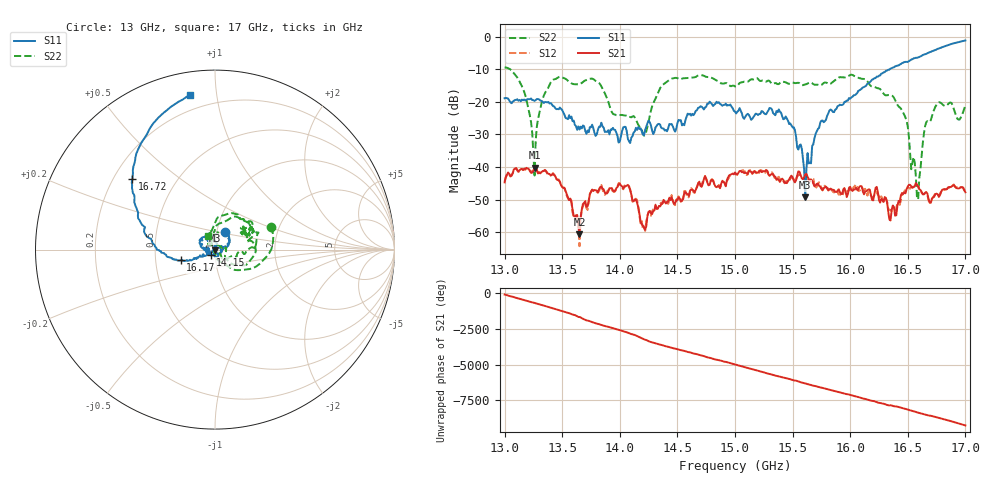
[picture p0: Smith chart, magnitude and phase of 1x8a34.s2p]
!Keysight Technologies,P9374A,MY57211807,A.19.30.04
!Date: Friday, May 08, 2026 14:13:18
!Correction: S11(C  2-Port  )
!S21(C  2-Port  )
!S12(C  2-Port  )
!S22(C  2-Port  )
!S2P File: Measurements: S11, S21, S12, S22:
# Hz S  dB  R 50
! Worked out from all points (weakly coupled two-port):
!   401 points, 13 GHz to 17 GHz, reference 50 ohm
!   highest |S21| = -40.24 dB at 13.26 GHz (marker M1); lowest = -60.7 dB at 13.65 GHz (marker M2)
!   lowest |S11| = -49.3 dB at 15.61 GHz (marker M3), VSWR 1.01, Z = 50.1 - j0.333 ohm
!   |S11| at or under -10 dB: start of sweep to 16.34 GHz
!   |S22| runs from -49.9 to -9.5 dB; largest |S21 - S12| = 0.0012
!   S11 on the Smith chart (normalised r, x): 13 GHz: 1.10, +0.22; 14.15 GHz: 0.95, -0.05; 16.17 GHz: 0.67, -0.08; 16.72 GHz: 0.28, +0.34; 17 GHz: 0.12, +0.84
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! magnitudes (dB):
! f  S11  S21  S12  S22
! 13 GHz  -18.9  -44.7  -44.5  -9.5
! 13.16 GHz  -19.5  -40.9  -40.9  -16.0
! 13.26 GHz  -19.7  -40.2  -40.1  -42.6
! 13.41 GHz  -20.7  -42.4  -42.3  -13.5
! 13.65 GHz  -28.5  -60.7  -64.3  -14.6
! 13.67 GHz  -28.1  -53.0  -53.0  -14.2
! 13.77 GHz  -28.1  -47.3  -47.2  -13.0
! 14.15 GHz  -28.6  -50.9  -50.1  -26.2
! 14.22 GHz  -28.6  -59.2  -59.6  -30.2
! 14.34 GHz  -26.8  -51.9  -51.7  -16.5
! 15 GHz  -23.0  -41.7  -41.7  -15.3
! 15.38 GHz  -22.3  -44.0  -43.0  -14.6
! 15.61 GHz  -49.3  -42.3  -42.9  -14.6
! 15.67 GHz  -33.5  -44.3  -43.3  -14.3
! 15.82 GHz  -22.6  -46.9  -46.0  -14.6
! 16.17 GHz  -14.0  -46.9  -47.8  -14.8
! 16.34 GHz  -10.1  -56.1  -53.2  -17.9
! 16.48 GHz  -7.7  -48.1  -46.9  -24.8
! 16.59 GHz  -6.4  -46.0  -45.7  -49.9
! 16.65 GHz  -5.4  -47.9  -48.0  -27.5
! 16.72 GHz  -4.4  -49.3  -49.3  -23.2
! 17 GHz  -1.2  -47.7  -47.6  -21.1
